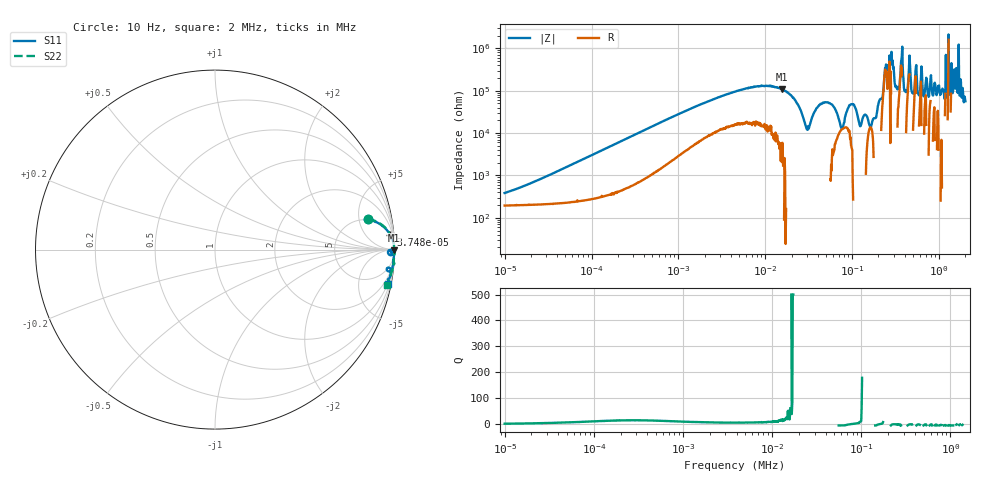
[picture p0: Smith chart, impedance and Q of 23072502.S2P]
!Agilent Technologies,E5061B,MY49204007,A.02.12
!Date: Wed Jul 23 10:47:30 2025
!Data & Calibration Information:
!Freq	S11:SOLT2(ON)	S21:SOLT2(ON)	S12:SOLT2(ON)	S22:SOLT2(ON)
# Hz S dB R 50
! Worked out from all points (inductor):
!   1040 points, 10 Hz to 2 MHz, reference 50 ohm
!   read as one part in series: L = 4.92 H near 19.61 Hz
!   highest Q = 44 at 15.35 kHz (marker M1), where L = 1.13 H
!   self-resonance near 30.53 kHz
!   S11 on the Smith chart (normalised r, x): 10 Hz: 4.92, +6.62; 37.48 Hz: 5, +23; 2 MHz: 1, -10
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10  -1.25 11.2  -12.94 -48.4  -12.92 -48.4  -1.23 11.4
37.478  -0.17 4.8  -21.47 -74.5  -21.47 -74.4  -0.16 4.9
77.209  -0.05 2.4  -27.39 -81.3  -27.39 -81.2  -0.04 2.6
588.818  -0.01 0.3  -44.57 -85.1  -44.59 -85.0  0.00 0.5
4498.482  -0.01 -0.0  -59.60 -80.6  -59.61 -80.5  0.01 0.2
15350.96  -0.01 -0.2  -60.73 -88.8  -60.81 -87.7  0.01 0.1
29910.04  -0.11 -0.5  -42.02 -163.3  -42.02 -163.2  -0.03 -0.1
34305.13  -0.03 -0.0  -47.23 120.1  -47.24 120.1  -0.00 0.1
51765.54  -0.01 -0.4  -54.56 92.3  -54.44 93.3  0.01 -0.2
75137.08  -0.12 -0.8  -42.19 18.1  -42.19 18.3  -0.03 -0.4
98845.22  -0.02 -0.8  -53.66 -85.6  -53.65 -84.7  0.00 -0.4
165058.6  -0.28 -0.2  -43.45 -25.8  -43.55 -26.0  -0.01 -0.8
261946.5  -0.02 -1.0  -72.28 50.4  -71.21 25.0  -0.02 -1.3
282472  -0.02 -1.2  -78.38 117.6  -72.10 83.5  -0.01 -1.4
327104.3  -0.02 -1.5  -60.90 90.9  -62.19 87.1  -0.01 -1.7
367596.4  -0.02 -1.7  -74.85 64.7  -73.54 41.7  -0.01 -1.9
410311.9  -0.02 -2.0  -59.40 88.4  -60.59 92.2  -0.01 -2.1
455072.7  -0.02 -2.3  -76.65 66.7  -74.51 62.3  -0.01 -2.3
499833.6  -0.02 -2.6  -58.71 79.4  -58.41 79.7  -0.01 -2.6
1089844  -0.10 -6.7  -61.11 89.8  -61.61 89.5  -0.05 -6.3
1574823  -0.11 -8.4  -70.92 102.3  -74.15 94.0  -0.12 -9.1
2000000  -0.15 -11.1  -55.29 -132.1  -55.21 -131.9  -0.20 -11.8
